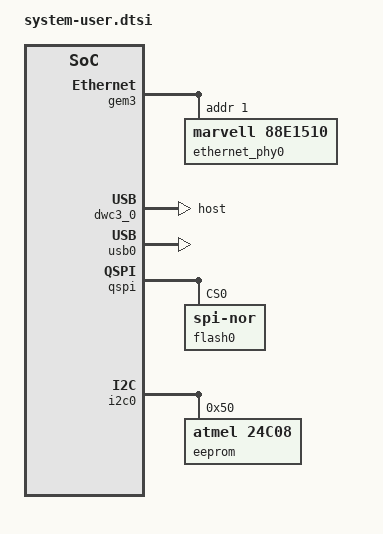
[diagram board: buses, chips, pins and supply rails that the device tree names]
/include/ "system-conf.dtsi"
/ {
  chosen {
    xlnx,eeprom = &eeprom;
  };
};
 
 
/* SDIO */
 
&sdhci1 {
   disable-wp;
   no-1-8-v;
};
 
/* ETH PHY */
&gem3 {
 
    status = "okay";
  ethernet_phy0: ethernet-phy@0 {
        compatible = "marvell,88e1510";
        device_type = "ethernet-phy";
            reg = <1>;
    };
};
/* USB 2.0 */
  
/* USB  */
&dwc3_0 {
    status = "okay";
    dr_mode = "host";
    maximum-speed = "high-speed";
    /delete-property/phy-names;
    /delete-property/phys;
    /delete-property/snps,usb3_lpm_capable;
     snps,dis_u2_susphy_quirk;
    snps,dis_u3_susphy_quirk;
};
    
&usb0 {
    status = "okay";
    /delete-property/ clocks;
    /delete-property/ clock-names;
    clocks = <0x3 0x20>;
    clock-names = "bus_clk";
};
 
 
 
 
/* QSPI PHY */
&qspi {
    #address-cells = <1>;
    #size-cells = <0>;
    status = "okay";
    flash0: flash@0 {
        compatible = "jedec,spi-nor";
        reg = <0x0>;
        #address-cells = <1>;
        #size-cells = <1>;
    };
};
 
&i2c0 {
  eeprom: eeprom@50 {
     compatible = "atmel,24c08";
     reg = <0x50>;
  };
};

/ {
    reserved-memory {
        #address-cells = <2>;
        #size-cells = <2>;
        ranges;
        rpu0vdev0vring0: rpu0vdev0vring0@3ed40000 {
            no-map;
            reg = <0x0 0x3ed40000 0x0 0x4000>;
        };

        rpu0vdev0vring1: rpu0vdev0vring1@3ed44000 {
            no-map;
            reg = <0x0 0x3ed44000 0x0 0x4000>;
        };
        rpu0vdev0buffer: rpu0vdev0buffer@3ed48000 {
            no-map;
            reg = <0x0 0x3ed48000 0x0 0x100000>;
        };
        rproc_0_reserved: rproc@3ed00000 {
            no-map;
            reg = <0x0 0x3ed00000 0x0 0x40000>;
        };
    };

    zynqmp-rpu {
        compatible = "xlnx,zynqmp-r5-remoteproc-1.0";
        #address-cells = <2>;
        #size-cells = <2>;
        ranges;
        core_conf = "split";
        reg = <0x0 0xFF9A0000 0x0 0x10000>;

        r5_0: r5@0 {
            #address-cells = <2>;
            #size-cells = <2>;
            ranges;
            memory-region = <&rproc_0_reserved>, <&rpu0vdev0buffer>, <&rpu0vdev0vring0>, <&rpu0vdev0vring1>;
            pnode-id = <0x7>;
            mboxes = <&ipi_mailbox_rpu0 0>, <&ipi_mailbox_rpu0 1>;
            mbox-names = "tx", "rx";

            tcm_0_a: tcm_0@0 {
                reg = <0x0 0xFFE00000 0x0 0x10000>;
                pnode-id = <0xf>;
            };
            tcm_0_b: tcm_0@1 {
                reg = <0x0 0xFFE20000 0x0 0x10000>;
                pnode-id = <0x10>;
            };
        };
    };
    zynqmp_ipi1 {
        compatible = "xlnx,zynqmp-ipi-mailbox";
        interrupt-parent = <&gic>;
        interrupts = <0 29 4>;
        xlnx,ipi-id = <7>;
        #address-cells = <1>;
        #size-cells = <1>;
        ranges;
        /* APU<->RPU0 IPI mailbox controller */
        ipi_mailbox_rpu0: mailbox@ff990600 {
            reg = <0xff990600 0x20>,
                  <0xff990620 0x20>,
                  <0xff9900c0 0x20>,
                  <0xff9900e0 0x20>;
            reg-names = "local_request_region",
                "local_response_region",
                "remote_request_region",
                "remote_response_region";
            #mbox-cells = <1>;
            xlnx,ipi-id = <1>;
        };
    };
};

